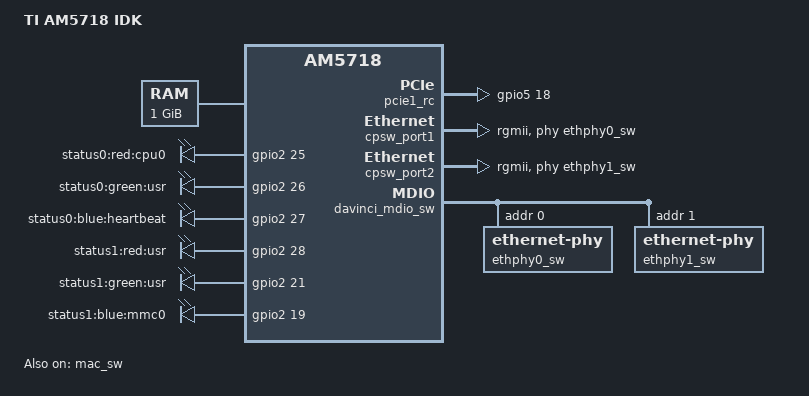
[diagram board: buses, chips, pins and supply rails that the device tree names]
// SPDX-License-Identifier: GPL-2.0-only
/*
 * Copyright (C) 2015-2016 Texas Instruments Incorporated - http://www.ti.com/
 */
/dts-v1/;

#include "am5718.dtsi"
#include <dt-bindings/gpio/gpio.h>
#include <dt-bindings/interrupt-controller/irq.h>
#include "dra7-mmc-iodelay.dtsi"
#include "dra72x-mmc-iodelay.dtsi"
#include "am57xx-idk-common.dtsi"
#include "dra7-ipu-dsp-common.dtsi"

/ {
	model = "TI AM5718 IDK";
	compatible = "ti,am5718-idk", "ti,am5718", "ti,dra7";

	memory@80000000 {
		device_type = "memory";
		reg = <0x0 0x80000000 0x0 0x40000000>;
	};

	leds {
		compatible = "gpio-leds";
		cpu0-led {
			label = "status0:red:cpu0";
			gpios = <&gpio2 25 GPIO_ACTIVE_HIGH>;
			default-state = "off";
			linux,default-trigger = "cpu0";
		};

		usr0-led {
			label = "status0:green:usr";
			gpios = <&gpio2 26 GPIO_ACTIVE_HIGH>;
			default-state = "off";
		};

		heartbeat-led {
			label = "status0:blue:heartbeat";
			gpios = <&gpio2 27 GPIO_ACTIVE_HIGH>;
			default-state = "off";
			linux,default-trigger = "heartbeat";
		};

		usr1-led {
			label = "status1:red:usr";
			gpios = <&gpio2 28 GPIO_ACTIVE_HIGH>;
			default-state = "off";
		};

		usr2-led {
			label = "status1:green:usr";
			gpios = <&gpio2 21 GPIO_ACTIVE_HIGH>;
			default-state = "off";
		};

		mmc0-led {
			label = "status1:blue:mmc0";
			gpios = <&gpio2 19 GPIO_ACTIVE_HIGH>;
			default-state = "off";
			linux,default-trigger = "mmc0";
		};
	};

	idk-leds {
		status = "disabled";
		compatible = "gpio-leds";
		red0-led {
			label = "idk:red0";
			gpios = <&gpio6 19 GPIO_ACTIVE_HIGH>;
			default-state = "off";
		};

		green0-led {
			label = "idk:green0";
			gpios = <&gpio4 0 GPIO_ACTIVE_HIGH>;
			default-state = "off";
		};

		blue0-led {
			label = "idk:blue0";
			gpios = <&gpio1 4 GPIO_ACTIVE_HIGH>;
			default-state = "off";
		};

		red1-led {
			label = "idk:red1";
			gpios = <&gpio6 7 GPIO_ACTIVE_HIGH>;
			default-state = "off";
		};

		green1-led {
			label = "idk:green1";
			gpios = <&gpio2 29 GPIO_ACTIVE_HIGH>;
			default-state = "off";
		};

		blue1-led {
			label = "idk:blue1";
			gpios = <&gpio1 5 GPIO_ACTIVE_HIGH>;
			default-state = "off";
		};

		red2-led {
			label = "idk:red2";
			gpios = <&gpio7 9 GPIO_ACTIVE_HIGH>;
			default-state = "off";
		};

		green2-led {
			label = "idk:green2";
			gpios = <&gpio7 8 GPIO_ACTIVE_HIGH>;
			default-state = "off";
		};

		blue2-led {
			label = "idk:blue2";
			gpios = <&gpio7 10 GPIO_ACTIVE_HIGH>;
			default-state = "off";
		};

		red3-led {
			label = "idk:red3";
			gpios = <&gpio7 11 GPIO_ACTIVE_HIGH>;
			default-state = "off";
		};

		green3-led {
			label = "idk:green3";
			gpios = <&gpio7 25 GPIO_ACTIVE_HIGH>;
			default-state = "off";
		};

		blue3-led {
			label = "idk:blue3";
			gpios = <&gpio7 24 GPIO_ACTIVE_HIGH>;
			default-state = "off";
		};
	};
};

&extcon_usb2 {
	id-gpio = <&gpio5 7 GPIO_ACTIVE_HIGH>;
	vbus-gpio = <&gpio7 22 GPIO_ACTIVE_HIGH>;
};

&sn65hvs882 {
	load-gpios = <&gpio2 23 GPIO_ACTIVE_LOW>;
};

&pcie1_rc {
	status = "okay";
	gpios = <&gpio5 18 GPIO_ACTIVE_HIGH>;
};

&mmc1 {
	pinctrl-names = "default", "hs";
	pinctrl-0 = <&mmc1_pins_default_no_clk_pu>;
	pinctrl-1 = <&mmc1_pins_hs>;
};

&mmc2 {
	pinctrl-names = "default", "hs", "ddr_3_3v";
	pinctrl-0 = <&mmc2_pins_default>;
	pinctrl-1 = <&mmc2_pins_hs>;
	pinctrl-2 = <&mmc2_pins_ddr_rev20 &mmc2_iodelay_ddr_conf>;
};

&mac_sw {
	pinctrl-names = "default", "sleep";
	status = "okay";
};

&cpsw_port1 {
	phy-handle = <&ethphy0_sw>;
	phy-mode = "rgmii";
	ti,dual-emac-pvid = <1>;
};

&cpsw_port2 {
	phy-handle = <&ethphy1_sw>;
	phy-mode = "rgmii";
	ti,dual-emac-pvid = <2>;
};

&davinci_mdio_sw {
	ethphy0_sw: ethernet-phy@0 {
		reg = <0>;
	};

	ethphy1_sw: ethernet-phy@1 {
		reg = <1>;
	};
};
